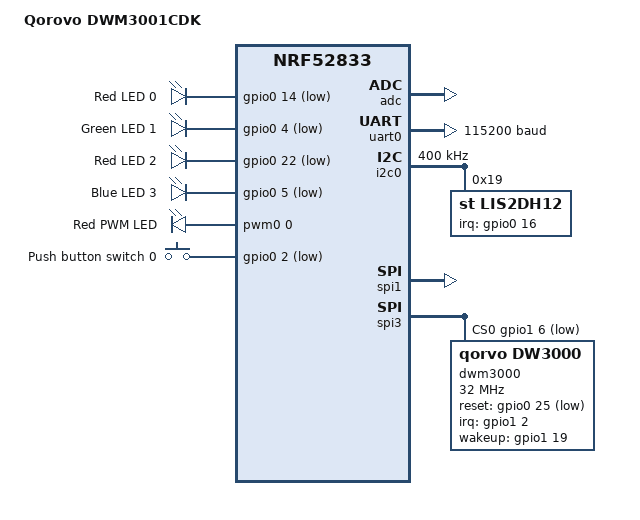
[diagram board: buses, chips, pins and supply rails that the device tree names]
/*
 * Copyright (c) 2022 Sven Hoyer
 *
 * SPDX-License-Identifier: Apache-2.0
 */

/dts-v1/;
#include <nordic/nrf52833_qiaa.dtsi>
#include "qorvo_dwm3001cdk-pinctrl.dtsi"

/ {
	model = "Qorovo DWM3001CDK";
	compatible = "qorvo,dwm3001cdk";

	chosen {
		zephyr,console        = &uart0;
		zephyr,shell-uart     = &uart0;
		zephyr,uart-mcumgr    = &uart0;
		zephyr,bt-mon-uart    = &uart0;
		zephyr,bt-c2h-uart    = &uart0;
		zephyr,sram           = &sram0;
		zephyr,flash          = &flash0;
		zephyr,code-partition = &slot0_partition;
	};

	leds {
		compatible = "gpio-leds";
		led0_red: led_0 {
			gpios = <&gpio0 14 GPIO_ACTIVE_LOW>;
			label = "Red LED 0";
		};
		led1_green: led_1 {
			gpios = <&gpio0 4 GPIO_ACTIVE_LOW>;
			label = "Green LED 1";
		};
		led2_red: led_2 {
			gpios = <&gpio0 22 GPIO_ACTIVE_LOW>;
			label = "Red LED 2";
		};
		led3_blue: led_3 {
			gpios = <&gpio0 5 GPIO_ACTIVE_LOW>;
			label = "Blue LED 3";
		};
	};

	pwmleds {
		compatible = "pwm-leds";
		pwm_led0_red: pwm_led_0 {
			pwms =  <&pwm0 0 PWM_MSEC(22) PWM_POLARITY_INVERTED>;
			label = "Red PWM LED";
		};
	};

	buttons {
		compatible = "gpio-keys";
		button0: button_0 {
			gpios = <&gpio0 2 (GPIO_PULL_UP | GPIO_ACTIVE_LOW)>;
			label = "Push button switch 0";
		};
	};

    /* These aliases are provided for compatibility with samples */
	aliases {
		sw0        = &button0;
		led0       = &led0_red;
		led1       = &led1_green;
		led2       = &led2_red;
		led3       = &led3_blue;
		led0-red   = &led0_red;
		led1-green = &led1_green;
		led2-red   = &led2_red;
		led3-blue  = &led3_blue;
		pwm-led0   = &pwm_led0_red;
		watchdog0  = &wdt0;
		accel0     = &lis2dh12;
		dw3000	   = &dwm3000;
	};

};

&adc {
	status = "okay";
};

&gpiote {
	status = "okay";
};

&gpio0 {
	status = "okay";
};

&gpio1 {
	status = "okay";
};

&uart0 {
	compatible = "nordic,nrf-uart";
	status = "okay";
	current-speed = <115200>;
	pinctrl-0=<&uart0_default>;
	pinctrl-1=<&uart0_sleep>;
	pinctrl-names = "default", "sleep";
};

&i2c0 {
	compatible = "nordic,nrf-twim";
	status = "okay";
	clock-frequency = <I2C_BITRATE_FAST>;
	pinctrl-0=<&i2c0_default>;
	pinctrl-names = "default";
	/* embedded LIS2DH accelerometer  */
	lis2dh12: lis2dh12@19 {
		compatible = "st,lis2dh12", "st,lis2dh";
		status = "okay";
		reg = <0x19>;
		irq-gpios = <&gpio0 16 GPIO_ACTIVE_HIGH>;
	};
};

&spi1 {
	compatible = "nordic,nrf-spim";
	status = "okay";
	cs-gpios = <&gpio0 30 GPIO_ACTIVE_LOW>;
	pinctrl-0 = <&spi1_default>;
	pinctrl-names = "default";
};

&spi3 {
	compatible = "nordic,nrf-spim";
	status = "okay";
	pinctrl-0 = <&spi3_default>;
	pinctrl-names = "default";
	cs-gpios = <&gpio1 6 GPIO_ACTIVE_LOW>;
	dwm3000: dw3000@0 {
		compatible = "qorvo,dw3000";
		spi-max-frequency = <32000000>;
		status = "okay";
		reg = <0>;
		reset-gpios = <&gpio0 25 GPIO_ACTIVE_LOW>;
		irq-gpios = <&gpio1 2 GPIO_ACTIVE_HIGH>;
		wakeup-gpios= <&gpio1 19 GPIO_ACTIVE_HIGH>;
	};
	
};

&pwm0 {
	pinctrl-0 = <&pwm0_default>;
	pinctrl-names = "default";
};

&flash0 {

	partitions {
		compatible = "fixed-partitions";
		#address-cells = <1>;
		#size-cells = <1>;

		boot_partition: partition@0 {
			label = "mcuboot";
			reg = <0x000000000 0xC000>;
		};
		slot0_partition: partition@c000 {
			label = "image-0";
			reg = <0x0000C000 0x32000>;
		};
		slot1_partition: partition@3e000 {
			label = "image-1";
			reg = <0x0003E000 0x32000>;
		};
		scratch_partition: partition@70000 {
			label = "image-scratch";
			reg = <0x00070000 0xA000>;
		};
		storage_partition: partition@7a000 {
			label = "storage";
			reg = <0x0007A000 0x00006000>;
		};
	};
};
